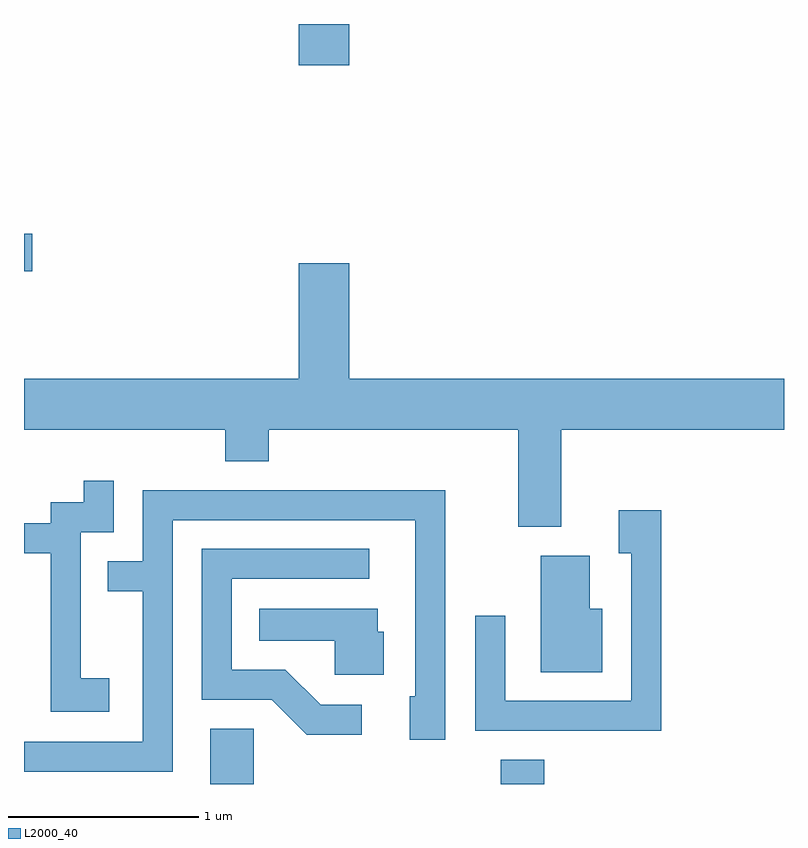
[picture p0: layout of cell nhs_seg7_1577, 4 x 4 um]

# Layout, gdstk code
import gdstk
lib = gdstk.Library(unit=1e-6, precision=1e-09)
def R(c, l, rs):  # rectangles x0, y0, x1, y1
    for r in rs: c.add(gdstk.rectangle(r[:2], r[2:], *l))
def P(c, l, *ps):  # polygons
    for p in ps: c.add(gdstk.Polygon(p, *l))
L2000_40 = (2000, 40)

nhs_seg7_1577 = lib.new_cell('nhs_seg7_1577')
R(nhs_seg7_1577, L2000_40, [(234.591,1690.252,234.819,1690.544), (236.121,1690.252,236.349,1690.379), (233.611,1692.951,233.654,1693.149), (235.056,1694.036,235.324,1694.252)])
P(nhs_seg7_1577, L2000_40, [(236.439,1692.116),(237.611,1692.116),(237.611,1692.384),(235.324,1692.384),(235.324,1692.994),(235.056,1692.994),(235.056,1692.384),(233.611,1692.384),(233.611,1692.116),(234.671,1692.116),(234.671,1691.951),(234.899,1691.951),(234.899,1692.116),(236.211,1692.116),(236.211,1691.606),(236.439,1691.606)],
  [(234.059,1690.809),(233.909,1690.809),(233.909,1691.576),(234.084,1691.576),(234.084,1691.848),(233.926,1691.848),(233.926,1691.734),(233.751,1691.734),(233.751,1691.624),(233.611,1691.624),(233.611,1691.466),(233.751,1691.466),(233.751,1690.631),(234.059,1690.631)],
  [(234.394,1691.641),(235.671,1691.641),(235.671,1690.714),(235.641,1690.714),(235.641,1690.486),(235.829,1690.486),(235.829,1691.799),(234.236,1691.799),(234.236,1691.424),(234.053,1691.424),(234.053,1691.266),(234.236,1691.266),(234.236,1690.474),(233.611,1690.474),(233.611,1690.316),(234.394,1690.316)],
  [(236.964,1691.694),(236.741,1691.694),(236.741,1691.466),(236.806,1691.466),(236.806,1690.689),(236.144,1690.689),(236.144,1691.138),(235.986,1691.138),(235.986,1690.531),(236.964,1690.531)],
  [(235.388,1690.669),(235.172,1690.669),(234.987,1690.854),(234.704,1690.854),(234.704,1691.331),(235.428,1691.331),(235.428,1691.489),(234.546,1691.489),(234.546,1690.696),(234.914,1690.696),(235.099,1690.511),(235.388,1690.511)],
  [(236.654,1691.174),(236.589,1691.174),(236.589,1691.454),(236.331,1691.454),(236.331,1690.841),(236.654,1690.841)],
  [(235.504,1691.054),(235.474,1691.054),(235.474,1691.174),(234.848,1691.174),(234.848,1691.006),(235.246,1691.006),(235.246,1690.826),(235.504,1690.826)])

lib.write_gds('nhs_seg7_1577.gds')
